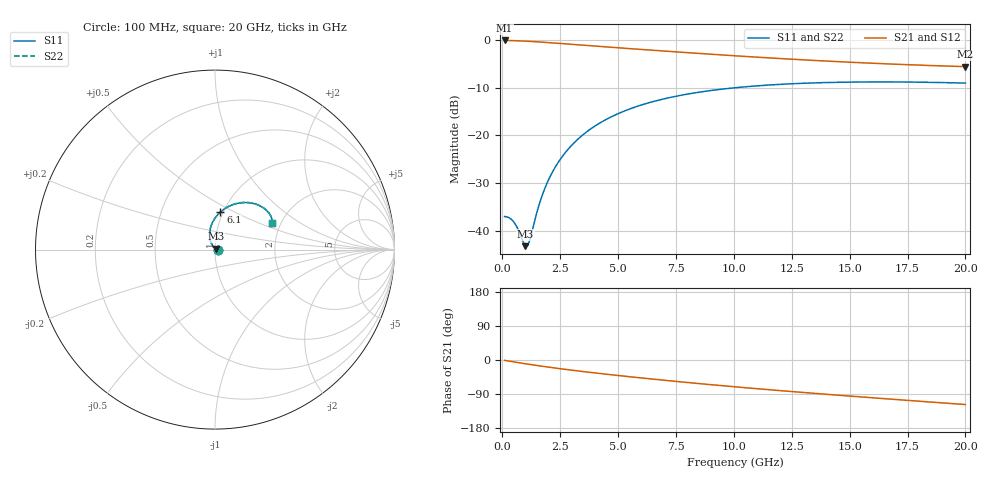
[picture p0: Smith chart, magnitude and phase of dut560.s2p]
! Touchstone file exported from HFSS 2024.1.0
!  File:  C:/UserFiles/LocalFiles/RDL_TSV_Batchsim/temp_RDL_TSV_560_1779751931.aedt
!  Generated:  07:46:20 AM May 26, 2026
!  Design:  RDL_TSV
!  Project:  temp_RDL_TSV_560_1779751931
!  Setup:  Setup1
!  Solution:  Sweep
! Variables:
!  dtsv = 8.73um
!  hbump = 3um
!  htsv = 59.73um
!  ldown = 161.06um
!  lrdl = 253.71um
!  p = 40
!  p1 = 40.89um
!  rhole = 10um
!  subl = 1498.02um
!  t = 450um
!  tdown = 3.68um
!  trdl = 2.25um
!  viad = 10um
!  wdown = 23.86um
!  wrdl = 13.94um
!  xbump = 18um
# GHz S MA R 50.000000
! Terminal data exported
! Port[1] = TM1_1_T1
! Port[2] = TM1_4_T1
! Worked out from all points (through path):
!   200 points, 100 MHz to 20 GHz, reference 50 ohm
!   highest |S21| = -0.13 dB at 100 MHz (marker M1); lowest = -5.6 dB at 20 GHz (marker M2)
!   group delay of S21, straight-line fit = 15.6 ps
!   lowest |S11| = -43.2 dB at 1 GHz (marker M3), VSWR 1.01, Z = 50.4 + j0.53 ohm
!   |S11| at or under -10 dB: start of sweep to 10.11 GHz
!   |S22| runs from -43.2 to -8.8 dB; largest |S21 - S12| = 1.2e-14
!   S11 on the Smith chart (normalised r, x): 100 MHz: 1.03, +0.00; 6.1 GHz: 0.97, +0.42; 20 GHz: 1.80, +0.62
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0.1  0.01412 1.8  0.9856 -1.0  0.9856 -1.0  0.01412 1.8
! Gamma 0 0 0 0
! Port Impedance 50 0 50 0
0.3  0.01369 4.8  0.9838 -3.1  0.9838 -3.1  0.01369 4.8
0.5  0.01236 8.0  0.9808 -5.1  0.9808 -5.1  0.01236 8.0
0.7  0.01012 14.9  0.9769 -7.1  0.9769 -7.1  0.01011 15.0
0.9  0.007656 32.9  0.9721 -9.0  0.9721 -9.0  0.007642 33.0
1  0.006911 49.5  0.9695 -10.0  0.9695 -10.0  0.006899 49.7
1.1  0.007013 69.8  0.9667 -10.9  0.9667 -10.9  0.00701 70.1
1.2  0.00816 88.3  0.9637 -11.8  0.9637 -11.8  0.008167 88.5
1.6  0.01913 117.6  0.9505 -15.5  0.9505 -15.5  0.01918 117.7
1.8  0.02642 120.3  0.9433 -17.2  0.9433 -17.2  0.02648 120.4
2.1  0.03849 120.2  0.932 -19.8  0.932 -19.8  0.03857 120.3
2.4  0.05147 118.2  0.9205 -22.2  0.9205 -22.2  0.05158 118.3
2.7  0.06501 115.4  0.9089 -24.6  0.9089 -24.6  0.06515 115.4
3.5  0.1022 106.7  0.8785 -30.6  0.8785 -30.6  0.1024 106.8
4.6  0.1517 95.3  0.8393 -38.3  0.8393 -38.3  0.1521 95.3
6.1  0.2113 81.8  0.7903 -48.0  0.7903 -48.0  0.2118 81.9
6.8  0.2352 76.4  0.7689 -52.3  0.7689 -52.3  0.2358 76.5
8.3  0.2782 66.2  0.726 -61.1  0.726 -61.1  0.2789 66.3
10.1  0.316 56.0  0.6796 -71.1  0.6796 -71.1  0.3168 56.1
13.4  0.3539 41.8  0.6099 -87.7  0.6099 -87.7  0.3549 41.9
16.7  0.3626 31.7  0.5592 -103.0  0.5592 -103.0  0.3638 31.8
20  0.3526 25.1  0.5242 -117.6  0.5242 -117.6  0.3539 25.2
